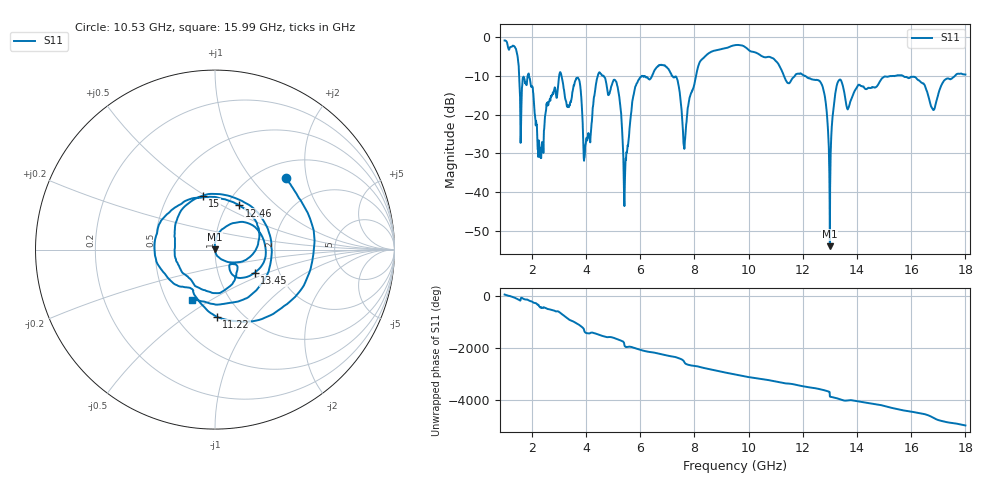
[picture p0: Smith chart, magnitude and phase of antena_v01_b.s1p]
!Agilent Technologies,N5224A,MY51441093,A.09.90.21
!Agilent N5224A: A.09.90.21
!Date: Monday, November 03, 2025 14:09:31
!Correction: S11(Full 1 Port(1))
!S1P File: Measurement: S11:
# Hz S  dB  R 50
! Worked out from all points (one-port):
!   1701 points, 1 GHz to 18 GHz, reference 50 ohm
!   lowest |S11| = -54.0 dB at 13 GHz (marker M1), VSWR 1.00, Z = 49.9 + j0.185 ohm
!   |S11| at or under -10 dB: 4.651 GHz to 6.059 GHz (1.408 GHz wide, 26.3 % of centre); 12.09 GHz to 15.34 GHz (3.251 GHz wide, 23.7 % of centre); 15.7 GHz to 17.61 GHz (1.909 GHz wide, 11.5 % of centre)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
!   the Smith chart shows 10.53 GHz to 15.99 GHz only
!   S11 on the Smith chart (normalised r, x): 10.53 GHz: 1.31, +1.52; 11.22 GHz: 0.77, -0.67; 12.46 GHz: 1.14, +0.61; 13.45 GHz: 1.50, -0.41; 15 GHz: 0.74, +0.49; 15.99 GHz: 0.67, -0.41
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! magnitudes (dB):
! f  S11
! 1 GHz  -0.8
! 1.61 GHz  -21.2
! 1.96 GHz  -12.1
! 2.29 GHz  -29.6
! 3.13 GHz  -11.0
! 3.73 GHz  -10.8
! 3.98 GHz  -27.8
! 4.48 GHz  -9.2
! 5.25 GHz  -16.5
! 5.45 GHz  -34.4
! 5.94 GHz  -11.1
! 7.38 GHz  -11.1
! 7.64 GHz  -28.5
! 8.22 GHz  -6.2
! 9.5 GHz  -2.0
! 10.53 GHz  -5.0
! 11.22 GHz  -8.5
! 11.63 GHz  -10.5
! 12.46 GHz  -11.0
! 12.78 GHz  -14.1
! 13 GHz  -54.0
! 13.45 GHz  -11.9
! 13.75 GHz  -16.7
! 15 GHz  -10.2
! 15.88 GHz  -10.5
! 15.99 GHz  -10.2
! 16.81 GHz  -18.8
! 18 GHz  -9.6
